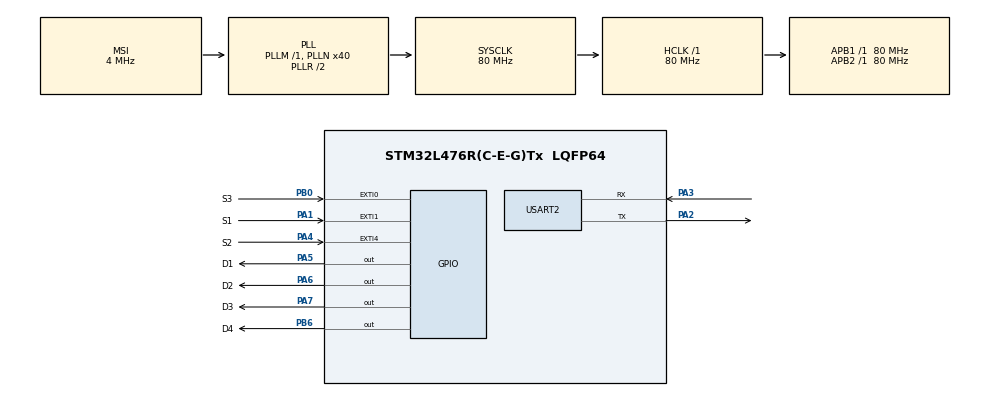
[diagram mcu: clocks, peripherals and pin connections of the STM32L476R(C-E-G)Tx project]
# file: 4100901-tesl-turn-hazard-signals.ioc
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Mcu.Family=STM32L4
Mcu.Name=STM32L476R(C-E-G)Tx
Mcu.Package=LQFP64
NVIC.EXTI0_IRQn=true\:0\:0\:false\:false\:true\:true\:true\:true
NVIC.EXTI1_IRQn=true\:0\:0\:false\:false\:true\:true\:true\:true
NVIC.EXTI4_IRQn=true\:0\:0\:false\:false\:true\:true\:true\:true
NVIC.PriorityGroup=NVIC_PRIORITYGROUP_4
PA1.GPIO_Label=S1
PA1.GPIO_ModeDefaultEXTI=GPIO_MODE_IT_FALLING
PA1.Signal=GPXTI1
PA2.Mode=Asynchronous
PA2.Signal=USART2_TX
PA3.Mode=Asynchronous
PA3.Signal=USART2_RX
PA4.GPIO_Label=S2
PA4.GPIO_ModeDefaultEXTI=GPIO_MODE_IT_FALLING
PA4.Signal=GPXTI4
PA5.GPIO_Label=D1
PA5.GPIO_PuPd=GPIO_PULLDOWN
PA5.PinState=GPIO_PIN_SET
PA5.Signal=GPIO_Output
PA6.GPIO_Label=D2
PA6.PinState=GPIO_PIN_SET
PA6.Signal=GPIO_Output
PA7.GPIO_Label=D3
PA7.PinState=GPIO_PIN_SET
PA7.Signal=GPIO_Output
PB0.GPIO_Label=S3
PB0.GPIO_ModeDefaultEXTI=GPIO_MODE_IT_FALLING
PB0.Signal=GPXTI0
PB6.GPIO_Label=D4
PB6.PinState=GPIO_PIN_SET
PB6.Signal=GPIO_Output
ProjectManager.HeapSize=0x200
ProjectManager.StackSize=0x400
ProjectManager.TargetToolchain=STM32CubeIDE
RCC.AHBFreq_Value=80000000
RCC.APB1Freq_Value=80000000
RCC.APB1TimFreq_Value=80000000
RCC.APB2Freq_Value=80000000
RCC.APB2TimFreq_Value=80000000
RCC.CortexFreq_Value=80000000
RCC.HCLKFreq_Value=80000000
RCC.HSE_VALUE=8000000
RCC.HSI_VALUE=16000000
RCC.LSE_VALUE=32768
RCC.MSI_VALUE=4000000
RCC.PLLN=40
RCC.SYSCLKFreq_VALUE=80000000
RCC.SYSCLKSource=RCC_SYSCLKSOURCE_PLLCLK
RCC.VCOOutputFreq_Value=160000000
USART2.VirtualMode-Asynchronous=VM_ASYNC
board=custom

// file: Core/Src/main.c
/* USER CODE BEGIN Header */
/**
  ******************************************************************************
  * @file           : main.c
  * @brief          : Main program body
  ******************************************************************************
  * @attention
  *
  * Copyright (c) 2024 STMicroelectronics.
  * All rights reserved.
  *
  * This software is licensed under terms that can be found in the LICENSE file
  * in the root directory of this software component.
  * If no LICENSE file comes with this software, it is provided AS-IS.
  *
  ******************************************************************************
  */
/* USER CODE END Header */
#include "main.h"

UART_HandleTypeDef huart2;

/* USER CODE BEGIN PV */
uint32_t left_toggles = 0;
/* USER CODE END PV */

void SystemClock_Config(void);
static void MX_GPIO_Init(void);
static void MX_USART2_UART_Init(void);
/* USER CODE BEGIN PFP */
void heartbeat(void);
/* USER CODE END PFP */

/* USER CODE BEGIN 0 */
void HAL_GPIO_EXTI_Callback(uint16_t GPIO_Pin)
{
	if (GPIO_Pin == S1_Pin) {
		HAL_UART_Transmit(&huart2, "S1\r\n", 4, 10);
	}
}
void heartbeat(void)
{
	static uint32_t heartbeat_tick = 0;
	if (heartbeat_tick < HAL_GetTick()) {
		heartbeat_tick = HAL_GetTick() + 500;
		HAL_GPIO_TogglePin(D1_GPIO_Port, D1_Pin);

	}
}
void turn_signal_led(void)
{
	static uint32_t turn_toggle_tick = 0;
	if (turn_toggle_tick < HAL_GetTick()) && left_toggles > 0) {
		turn_toggle_tick = HAL_GetTick() + 500;
		HAL_GPIO_TogglePin(D3_GPIO_Port, D3_Pin);
		left_toggles--;
	}
}
/* USER CODE END 0 */

int main(void)
{

  /* MCU Configuration--------------------------------------------------------*/

  /* Reset of all peripherals, Initializes the Flash interface and the Systick. */
  HAL_Init();

  /* Configure the system clock */
  SystemClock_Config();

  /* Initialize all configured peripherals */
  MX_GPIO_Init();
  MX_USART2_UART_Init();

  /* Infinite loop */
  while (1)
  {
	  heartbeat();
	  turn_signal_led();

  }
}

void SystemClock_Config(void)
{
  RCC_OscInitTypeDef RCC_OscInitStruct = {0};
  RCC_ClkInitTypeDef RCC_ClkInitStruct = {0};

  /** Configure the main internal regulator output voltage
  */
  if (HAL_PWREx_ControlVoltageScaling(PWR_REGULATOR_VOLTAGE_SCALE1) != HAL_OK)
  {
    Error_Handler();
  }

  /** Initializes the RCC Oscillators according to the specified parameters
  * in the RCC_OscInitTypeDef structure.
  */
  RCC_OscInitStruct.OscillatorType = RCC_OSCILLATORTYPE_MSI;
  RCC_OscInitStruct.MSIState = RCC_MSI_ON;
  RCC_OscInitStruct.MSICalibrationValue = 0;
  RCC_OscInitStruct.MSIClockRange = RCC_MSIRANGE_6;
  RCC_OscInitStruct.PLL.PLLState = RCC_PLL_ON;
  RCC_OscInitStruct.PLL.PLLSource = RCC_PLLSOURCE_MSI;
  RCC_OscInitStruct.PLL.PLLM = 1;
  RCC_OscInitStruct.PLL.PLLN = 40;
  RCC_OscInitStruct.PLL.PLLP = RCC_PLLP_DIV7;
  RCC_OscInitStruct.PLL.PLLQ = RCC_PLLQ_DIV2;
  RCC_OscInitStruct.PLL.PLLR = RCC_PLLR_DIV2;
  if (HAL_RCC_OscConfig(&RCC_OscInitStruct) != HAL_OK)
  {
    Error_Handler();
  }

  /** Initializes the CPU, AHB and APB buses clocks
  */
  RCC_ClkInitStruct.ClockType = RCC_CLOCKTYPE_HCLK|RCC_CLOCKTYPE_SYSCLK
                              |RCC_CLOCKTYPE_PCLK1|RCC_CLOCKTYPE_PCLK2;
  RCC_ClkInitStruct.SYSCLKSource = RCC_SYSCLKSOURCE_PLLCLK;
  RCC_ClkInitStruct.AHBCLKDivider = RCC_SYSCLK_DIV1;
  RCC_ClkInitStruct.APB1CLKDivider = RCC_HCLK_DIV1;
  RCC_ClkInitStruct.APB2CLKDivider = RCC_HCLK_DIV1;

  if (HAL_RCC_ClockConfig(&RCC_ClkInitStruct, FLASH_LATENCY_4) != HAL_OK)
  {
    Error_Handler();
  }
}

static void MX_USART2_UART_Init(void)
{

  huart2.Instance = USART2;
  huart2.Init.BaudRate = 115200;
  huart2.Init.WordLength = UART_WORDLENGTH_8B;
  huart2.Init.StopBits = UART_STOPBITS_1;
  huart2.Init.Parity = UART_PARITY_NONE;
  huart2.Init.Mode = UART_MODE_TX_RX;
  huart2.Init.HwFlowCtl = UART_HWCONTROL_NONE;
  huart2.Init.OverSampling = UART_OVERSAMPLING_16;
  huart2.Init.OneBitSampling = UART_ONE_BIT_SAMPLE_DISABLE;
  huart2.AdvancedInit.AdvFeatureInit = UART_ADVFEATURE_NO_INIT;
  if (HAL_UART_Init(&huart2) != HAL_OK)
  {
    Error_Handler();
  }

}

static void MX_GPIO_Init(void)
{
  GPIO_InitTypeDef GPIO_InitStruct = {0};

  /* GPIO Ports Clock Enable */
  __HAL_RCC_GPIOA_CLK_ENABLE();
  __HAL_RCC_GPIOB_CLK_ENABLE();

  /*Configure GPIO pin Output Level */
  HAL_GPIO_WritePin(GPIOA, D1_Pin|D2_Pin|D3_Pin, GPIO_PIN_SET);

  /*Configure GPIO pin Output Level */
  HAL_GPIO_WritePin(D4_GPIO_Port, D4_Pin, GPIO_PIN_SET);

  /*Configure GPIO pins : S1_Pin S2_Pin */
  GPIO_InitStruct.Pin = S1_Pin|S2_Pin;
  GPIO_InitStruct.Mode = GPIO_MODE_IT_FALLING;
  GPIO_InitStruct.Pull = GPIO_NOPULL;
  HAL_GPIO_Init(GPIOA, &GPIO_InitStruct);

  /*Configure GPIO pin : D1_Pin */
  GPIO_InitStruct.Pin = D1_Pin;
  GPIO_InitStruct.Mode = GPIO_MODE_OUTPUT_PP;
  GPIO_InitStruct.Pull = GPIO_PULLDOWN;
  GPIO_InitStruct.Speed = GPIO_SPEED_FREQ_LOW;
  HAL_GPIO_Init(D1_GPIO_Port, &GPIO_InitStruct);

  /*Configure GPIO pins : D2_Pin D3_Pin */
  GPIO_InitStruct.Pin = D2_Pin|D3_Pin;
  GPIO_InitStruct.Mode = GPIO_MODE_OUTPUT_PP;
  GPIO_InitStruct.Pull = GPIO_NOPULL;
  GPIO_InitStruct.Speed = GPIO_SPEED_FREQ_LOW;
  HAL_GPIO_Init(GPIOA, &GPIO_InitStruct);

  /*Configure GPIO pin : S3_Pin */
  GPIO_InitStruct.Pin = S3_Pin;
  GPIO_InitStruct.Mode = GPIO_MODE_IT_FALLING;
  GPIO_InitStruct.Pull = GPIO_NOPULL;
  HAL_GPIO_Init(S3_GPIO_Port, &GPIO_InitStruct);

  /*Configure GPIO pin : D4_Pin */
  GPIO_InitStruct.Pin = D4_Pin;
  GPIO_InitStruct.Mode = GPIO_MODE_OUTPUT_PP;
  GPIO_InitStruct.Pull = GPIO_NOPULL;
  GPIO_InitStruct.Speed = GPIO_SPEED_FREQ_LOW;
  HAL_GPIO_Init(D4_GPIO_Port, &GPIO_InitStruct);

  /* EXTI interrupt init*/
  HAL_NVIC_SetPriority(EXTI0_IRQn, 0, 0);
  HAL_NVIC_EnableIRQ(EXTI0_IRQn);

  HAL_NVIC_SetPriority(EXTI1_IRQn, 0, 0);
  HAL_NVIC_EnableIRQ(EXTI1_IRQn);

  HAL_NVIC_SetPriority(EXTI4_IRQn, 0, 0);
  HAL_NVIC_EnableIRQ(EXTI4_IRQn);

}

void Error_Handler(void)
{
  __disable_irq();
  while (1)
  {
  }
}
